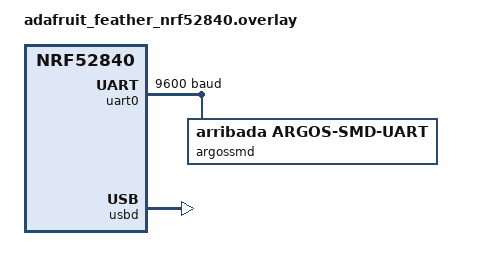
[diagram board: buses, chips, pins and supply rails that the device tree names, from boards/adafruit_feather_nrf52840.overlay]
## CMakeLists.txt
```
cmake_minimum_required(VERSION 3.20.0)

list(APPEND DTS_ROOT ${CMAKE_CURRENT_LIST_DIR}/../..)
find_package(Zephyr REQUIRED HINTS $ENV{ZEPHYR_BASE})
project(integration)

target_sources(app PRIVATE src/main.c)
```

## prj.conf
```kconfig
CONFIG_UART_INTERRUPT_DRIVEN=y
CONFIG_ARGOS_SMD=y

CONFIG_LOG=y
CONFIG_ZTEST=y

CONFIG_USB_DEVICE_STACK_NEXT=y

CONFIG_SERIAL=y
CONFIG_UART_LINE_CTRL=y
CONFIG_USBD_CDC_ACM_CLASS=y
CONFIG_CDC_ACM_SERIAL_INITIALIZE_AT_BOOT=n
CONFIG_CDC_ACM_SERIAL_ENABLE_AT_BOOT=y
CONFIG_CDC_ACM_SERIAL_INITIALIZE_AT_BOOT=y


CONFIG_USBD_LOG_LEVEL_ERR=y
CONFIG_UDC_DRIVER_LOG_LEVEL_ERR=y
CONFIG_USBD_CDC_ACM_LOG_LEVEL_OFF=y
```

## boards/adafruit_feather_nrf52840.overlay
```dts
/ {
    chosen {
	   	zephyr,console = &cdc_acm_uart;
		/delete-property/ zephyr,shell-uart;
		/delete-property/ zephyr,uart-mcumgr;
		/delete-property/ zephyr,bt-mon-uart;
		/delete-property/ zephyr,bt-c2h-uart;
    };
};


&uart0 {
    status = "okay";
    current-speed = <9600>;

    argossmd {
        compatible = "arribada,argos-smd-uart";
        /* Optional: Uncomment to enable GPIO wakeup pin control
         * wakeup-gpios = <&gpio0 15 GPIO_ACTIVE_HIGH>;
         *
         * Use argos_smd_wakeup_enable() to set HIGH before communicating
         * Use argos_smd_wakeup_disable() to set LOW when done
         */
    };
};

zephyr_udc0: &usbd {
	compatible = "nordic,nrf-usbd";
	status = "okay";
	cdc_acm_uart: cdc_acm_uart0 {
		compatible = "zephyr,cdc-acm-uart";
		label = "CDC_ACM";
	};
};
```

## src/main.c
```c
#include <zephyr/device.h>
#include <zephyr/devicetree.h>
#include <zephyr/ztest.h>

#include <argos-smd/argos_smd.h>

const struct device *dev = DEVICE_DT_GET_ONE(arribada_argos_smd_uart);

#define RESPONSE_BUFFER_SIZE 128
K_MSGQ_DEFINE(response_msgq, RESPONSE_BUFFER_SIZE, 10, 1);

void read_callback(const char *response, void *user_data)
{
	ARG_UNUSED(user_data);

	char out[RESPONSE_BUFFER_SIZE];
	strcpy(out, response);
	k_msgq_put(&response_msgq, out, K_NO_WAIT);
}

ZTEST(argos_smd, test_write)
{
	char response[RESPONSE_BUFFER_SIZE];

	zassert_ok(argos_set_address(dev, "00000000"));
	k_msgq_get(&response_msgq, response, K_FOREVER);
	zassert_equal(strcmp("+OK", response), 0, "%s", response);

	zassert_ok(argos_read_address(dev));
	k_msgq_get(&response_msgq, response, K_FOREVER);
	zassert_equal(strcmp("+ADDR=00000000", response), 0, "%s", response);
	k_msgq_get(&response_msgq, response, K_FOREVER);
	zassert_equal(strcmp("+OK", response), 0, "%s", response);

	zassert_ok(argos_set_address(dev, "abcdef01"));
	k_msgq_get(&response_msgq, response, K_FOREVER);
	zassert_equal(strcmp("+OK", response), 0, "%s", response);

	zassert_ok(argos_read_address(dev));
	k_msgq_get(&response_msgq, response, K_FOREVER);
	zassert_equal(strcmp("+ADDR=abcdef01", response), 0);
	k_msgq_get(&response_msgq, response, K_FOREVER);
	zassert_equal(strcmp("+OK", response), 0, "%s", response);
}

ZTEST(argos_smd, test_read)
{
	char response[RESPONSE_BUFFER_SIZE];

	char msg[9] = "FFFFFFFF";
	zassert_ok(argos_send_payload(dev, msg));

	k_msgq_get(&response_msgq, response, K_FOREVER);
	zassert_equal(strcmp("+OK", response), 0, "%s", response);
	k_msgq_get(&response_msgq, response, K_FOREVER);
	zassert_equal(strcmp("+TX=0,FFFFFFFF", response), 0, "%s", response);
}

void *setup(void)
{
	zassert_true(device_is_ready(dev));
	argos_smd_set_callback(dev, read_callback, NULL);

	/* Enable wakeup pin for all tests */
	int ret = argos_smd_wakeup_enable(dev);
	if (ret == 0) {
		printk("Wakeup pin enabled for tests\n");
	} else if (ret == -ENOTSUP) {
		printk("No wakeup pin configured\n");
	}

	return NULL;
}

void teardown(void *fixture)
{
	ARG_UNUSED(fixture);

	/* Disable wakeup pin after all tests */
	int ret = argos_smd_wakeup_disable(dev);
	if (ret == 0) {
		printk("Wakeup pin disabled after tests\n");
	}
}

ZTEST_SUITE(argos_smd, NULL, setup, NULL, NULL, teardown);

// Required for the ACM CDC UART to start and connected to
// before twister starts looking at it
int uart_delay()
{
	k_busy_wait(3000000); // 5s delay;
	return 0;
}

SYS_INIT_NAMED(uart_delay, uart_delay, APPLICATION, 95);
```
